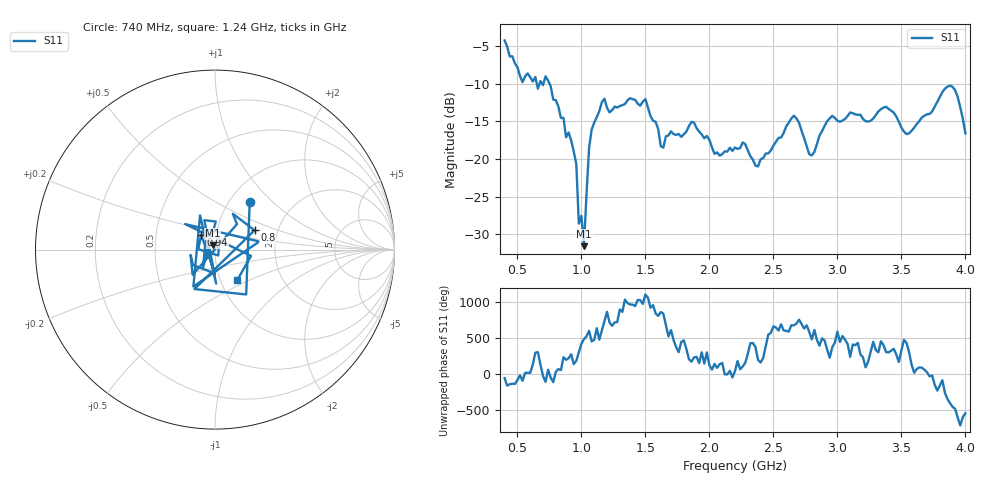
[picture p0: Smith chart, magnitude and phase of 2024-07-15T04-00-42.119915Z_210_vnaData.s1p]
!Created with skrf (http://scikit-rf.org).
# Hz S RI R 50.0
!freq ReS11 ImS11
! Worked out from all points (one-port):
!   181 points, 400 MHz to 4 GHz, reference 50 ohm
!   lowest |S11| = -31.6 dB at 1.02 GHz (marker M1), VSWR 1.05, Z = 48.7 + j2.24 ohm
!   |S11| at or under -10 dB: 651.3 MHz to 673.5 MHz (22.19 MHz wide, 3.35 % of centre); 692.1 MHz to 703.6 MHz (11.52 MHz wide, 1.65 % of centre); 750.7 MHz to end of sweep
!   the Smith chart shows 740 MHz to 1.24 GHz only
!   S11 on the Smith chart (normalised r, x): 740 MHz: 1.23, +0.74; 800 MHz: 1.52, +0.35; 940 MHz: 0.85, +0.14; 1.24 GHz: 1.20, -0.43
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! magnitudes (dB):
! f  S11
! 400 MHz  -4.3
! 540 MHz  -9.8
! 740 MHz  -9.6
! 800 MHz  -12.2
! 860 MHz  -14.5
! 940 MHz  -19.0
! 960 MHz  -20.6
! 980 MHz  -28.6
! 1 GHz  -27.5
! 1.02 GHz  -31.6
! 1.06 GHz  -18.5
! 1.08 GHz  -16.1
! 1.18 GHz  -12.0
! 1.24 GHz  -13.5
! 1.3 GHz  -13.0
! 1.5 GHz  -12.1
! 1.64 GHz  -18.5
! 1.76 GHz  -16.7
! 2.2 GHz  -18.5
! 2.38 GHz  -21.0
! 2.66 GHz  -14.3
! 2.8 GHz  -19.5
! 2.92 GHz  -15.0
! 3.1 GHz  -13.8
! 3.38 GHz  -13.1
! 3.56 GHz  -16.6
! 3.88 GHz  -10.3
! 4 GHz  -16.6
